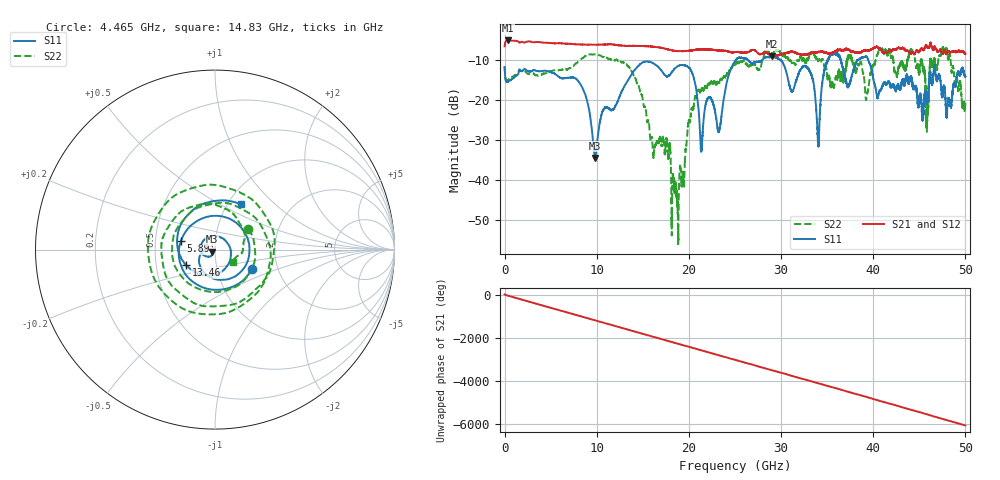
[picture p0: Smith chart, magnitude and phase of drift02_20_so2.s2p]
!Created with skrf (http://scikit-rf.org).
# Hz S RI R 50.0
!freq ReS11 ImS11 ReS21 ImS21 ReS12 ImS12 ReS22 ImS22
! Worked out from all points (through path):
!   10001 points, 300 kHz to 50 GHz, reference 50 ohm
!   highest |S21| = -5.04 dB at 325.3 MHz (marker M1); lowest = -9.0 dB at 29.05 GHz (marker M2)
!   group delay of S21, straight-line fit = 336 ps
!   lowest |S11| = -34.4 dB at 9.84 GHz (marker M3), VSWR 1.04, Z = 48.5 - j1.05 ohm
!   |S11| at or under -10 dB: start of sweep to 25.07 GHz; 29.98 GHz to 35.04 GHz (5.059 GHz wide, 15.6 % of centre); 39.47 GHz to end of sweep (the widest 3 of 11)
!   |S22| runs from -56.5 to -6.7 dB; largest |S21 - S12| = 0.02
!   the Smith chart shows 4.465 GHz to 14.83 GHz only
!   S11 on the Smith chart (normalised r, x): 4.465 GHz: 1.47, -0.34; 5.89 GHz: 0.68, +0.07; 13.46 GHz: 0.71, -0.13; 14.83 GHz: 1.15, +0.63
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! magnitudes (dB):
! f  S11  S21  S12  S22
! 300 kHz  -11.7  -6.5  -6.4  -11.6
! 325.3 MHz  -15.4  -5.0  -5.0  -15.0
! 4.465 GHz  -12.6  -5.6  -5.6  -13.3
! 5.89 GHz  -14.2  -5.7  -5.7  -12.5
! 8.335 GHz  -16.4  -6.0  -6.0  -9.6
! 9.84 GHz  -34.4  -6.1  -6.1  -8.5
! 13.46 GHz  -14.7  -6.4  -6.4  -11.6
! 14.83 GHz  -10.8  -6.4  -6.4  -18.5
! 16.67 GHz  -11.7  -6.7  -6.7  -30.5
! 18.68 GHz  -11.7  -7.7  -7.7  -44.0
! 20.37 GHz  -13.3  -7.5  -7.5  -22.1
! 21.37 GHz  -32.4  -7.3  -7.3  -17.0
! 23.3 GHz  -27.6  -7.5  -7.6  -15.6
! 25 GHz  -10.3  -8.0  -8.0  -11.1
! 29.05 GHz  -9.1  -9.0  -9.0  -8.2
! 33.34 GHz  -14.0  -8.0  -8.2  -8.1
! 34.02 GHz  -31.3  -7.9  -8.0  -10.2
! 35.53 GHz  -8.4  -8.2  -8.2  -15.7
! 41.67 GHz  -15.4  -7.7  -7.8  -7.5
! 45.85 GHz  -20.8  -6.6  -6.8  -21.3
! 47.77 GHz  -17.6  -7.6  -7.6  -7.6
! 50 GHz  -14.0  -8.4  -8.4  -20.7
